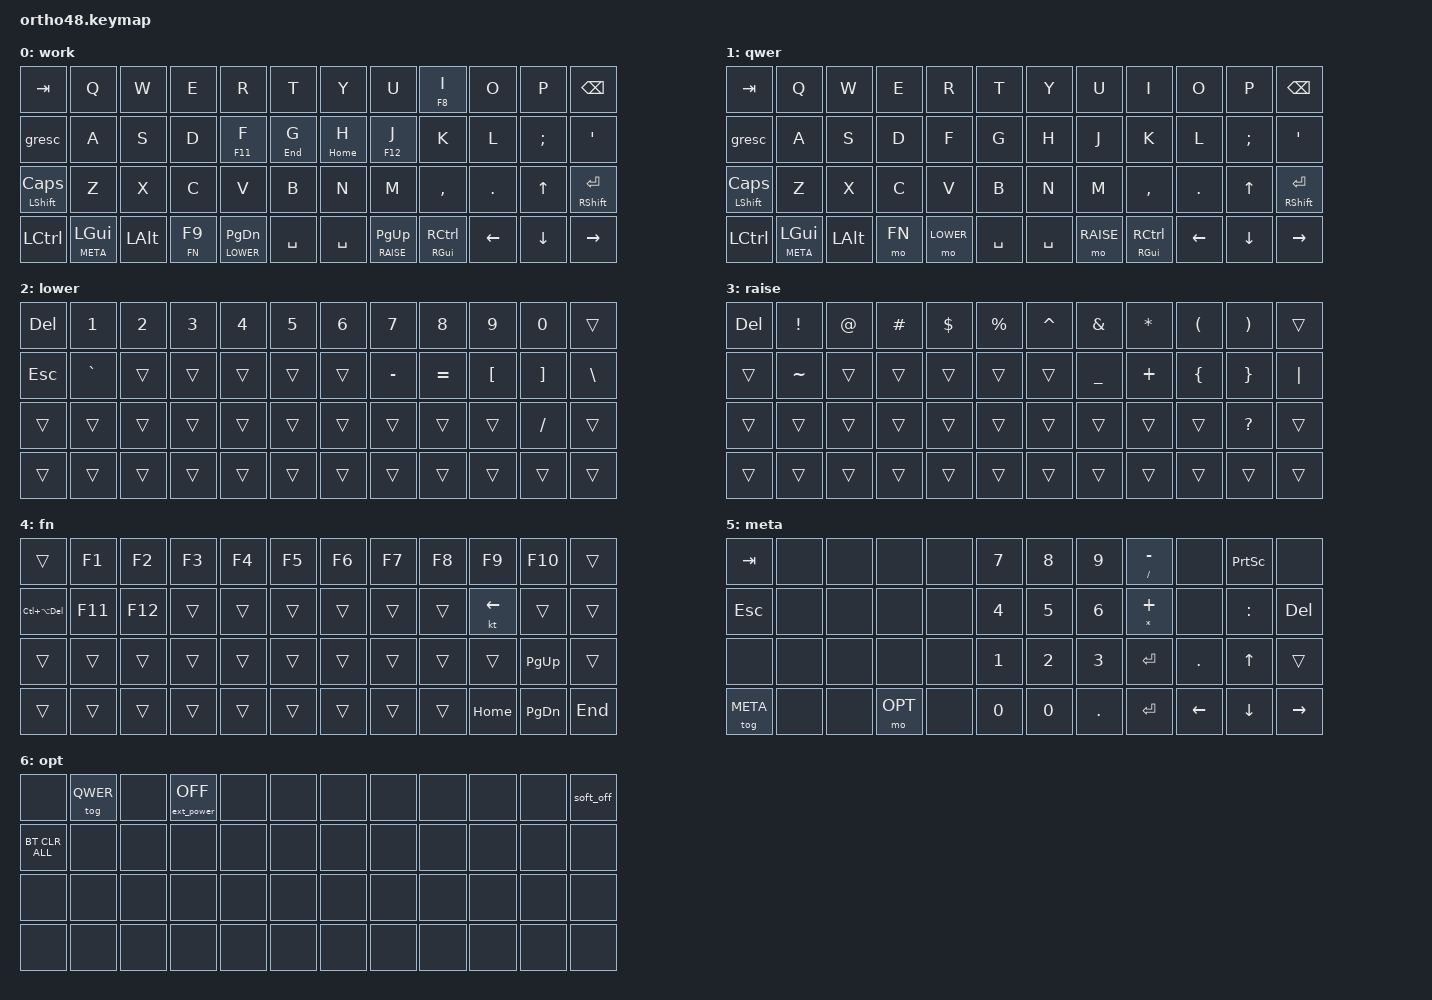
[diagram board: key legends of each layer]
// Copyright (c) 2024 Will Hedges (https://github.com/will-hedges)
// SPDX-License-Identifier: MIT


#include <behaviors.dtsi>
#include <dt-bindings/zmk/bt.h>
#include <dt-bindings/zmk/ext_power.h>
#include <dt-bindings/zmk/keys.h>


#define WORK  0
#define QWER  1
#define LOWER 2
#define RAISE 3
#define FN    4
#define META  5
#define OPT   6


&lt {
    flavor = "hold-preferred";
};


/ {
    behaviors {
        gresc: grave_escape {
            compatible = "zmk,behavior-mod-morph";
            #binding-cells = <0>;
            bindings = <&kp ESC>, <&kp GRAVE>;
            mods = <(MOD_LGUI|MOD_LSFT|MOD_RGUI|MOD_RSFT)>;
        };

        tpht: tap_preferred_hold-tap {
            compatible = "zmk,behavior-hold-tap";
            #binding-cells = <2>;
            tapping-term-ms = <200>;
            quick-tap-ms = <0>;
            flavor = "tap-preferred";
            bindings = <&kp>, <&kp>;
        };
    };


    keymap {
        compatible = "zmk,keymap";

        work {
            bindings = <

                &kp TAB         &kp Q          &kp W     &kp E      &kp R            &kp T        &kp Y         &kp U            &tpht F8 I      &kp O     &kp P     &kp BSPC
                &gresc          &kp A          &kp S     &kp D      &tpht F11 F      &tpht END G  &tpht HOME H  &tpht F12 J      &kp K           &kp L     &kp SEMI  &kp SQT
                &mt LSHFT CAPS  &kp Z          &kp X     &kp C      &kp V            &kp B        &kp N         &kp M            &kp COMMA       &kp DOT   &kp UP    &mt RSHFT ENTER
                &kp LCTRL       &lt META LGUI  &kp LALT  &lt FN F9  &lt LOWER PG_DN  &kp SPACE    &kp SPACE     &lt RAISE PG_UP  &mt RGUI RCTRL  &kp LEFT  &kp DOWN  &kp RIGHT
            
            >;
        };

        qwer {
            bindings = <
            
                &kp TAB         &kp Q          &kp W     &kp E   &kp R      &kp T      &kp Y       &kp U      &kp I           &kp O     &kp P     &kp BSPC
                &gresc          &kp A          &kp S     &kp D   &kp F      &kp G      &kp H       &kp J      &kp K           &kp L     &kp SEMI  &kp SQT
                &mt LSHFT CAPS  &kp Z          &kp X     &kp C   &kp V      &kp B      &kp N       &kp M      &kp COMMA       &kp DOT   &kp UP    &mt RSHFT ENTER
                &kp LCTRL       &lt META LGUI  &kp LALT  &mo FN  &mo LOWER  &kp SPACE  &kp SPACE   &mo RAISE  &mt RGUI RCTRL  &kp LEFT  &kp DOWN  &kp RIGHT  
            
            >;
        };

        lower {
            bindings = <

                &kp DEL  &kp N1     &kp N2  &kp N3  &kp N4  &kp N5  &kp N6  &kp N7     &kp N8     &kp N9    &kp N0     &trans  
                &kp ESC  &kp GRAVE  &trans  &trans  &trans  &trans  &trans  &kp MINUS  &kp EQUAL  &kp LBKT  &kp RBKT   &kp BSLH 
                &trans   &trans     &trans  &trans  &trans  &trans  &trans  &trans     &trans     &trans    &kp SLASH  &trans  
                &trans   &trans     &trans  &trans  &trans  &trans  &trans  &trans     &trans     &trans    &trans     &trans
            
            >;
        };

        raise {
            bindings = <
            
                &kp DEL &kp EXCL   &kp AT  &kp HASH  &kp DLLR  &kp PRCNT  &kp CARET  &kp AMPS   &kp ASTRK  &kp LPAR  &kp RPAR   &trans
                &trans  &kp TILDE  &trans  &trans    &trans    &trans     &trans     &kp UNDER  &kp PLUS   &kp LBRC  &kp RBRC   &kp PIPE
                &trans  &trans     &trans  &trans    &trans    &trans     &trans     &trans     &trans     &trans    &kp QMARK  &trans
                &trans  &trans     &trans  &trans    &trans    &trans     &trans     &trans     &trans     &trans    &trans     &trans
            
            >;
        };
        
        fn {
            bindings = <
            
                &trans           &kp F1   &kp F2   &kp F3  &kp F4  &kp F5  &kp F6  &kp F7  &kp F8  &kp F9    &kp F10    &trans
                &kp LC(LA(DEL))  &kp F11  &kp F12  &trans  &trans  &trans  &trans  &trans  &trans  &kt LEFT  &trans     &trans
                &trans           &trans   &trans   &trans  &trans  &trans  &trans  &trans  &trans  &trans    &kp PG_UP  &trans
                &trans           &trans   &trans   &trans  &trans  &trans  &trans  &trans  &trans  &kp HOME  &kp PG_DN  &kp END
            
            >;
        };

        meta {
            bindings = <
            
                &kp TAB    &none  &none  &none    &none  &kp N7  &kp N8  &kp N9   &tpht SLASH MINUS  &none     &kp PSCRN  &none
                &kp ESC    &none  &none  &none    &none  &kp N4  &kp N5  &kp N6   &tpht ASTRK PLUS   &none     &kp COLON  &kp DEL
                &none      &none  &none  &none    &none  &kp N1  &kp N2  &kp N3   &kp ENTER          &kp DOT   &kp UP     &trans
                &tog META  &none  &none  &mo OPT  &none  &kp N0  &kp N0  &kp DOT  &kp ENTER          &kp LEFT  &kp DOWN   &kp RIGHT
            
            >;
        };

        opt {
            bindings = < 
                &none           &tog QWER  &none  &ext_power EP_OFF  &none  &none  &none  &none  &none  &none  &none  &soft_off
                &bt BT_CLR_ALL  &none      &none  &none              &none  &none  &none  &none  &none  &none  &none  &none
                &none           &none      &none  &none              &none  &none  &none  &none  &none  &none  &none  &none
                &none           &none      &none  &none              &none  &none  &none  &none  &none  &none  &none  &none
            >;
        };
    };
};

